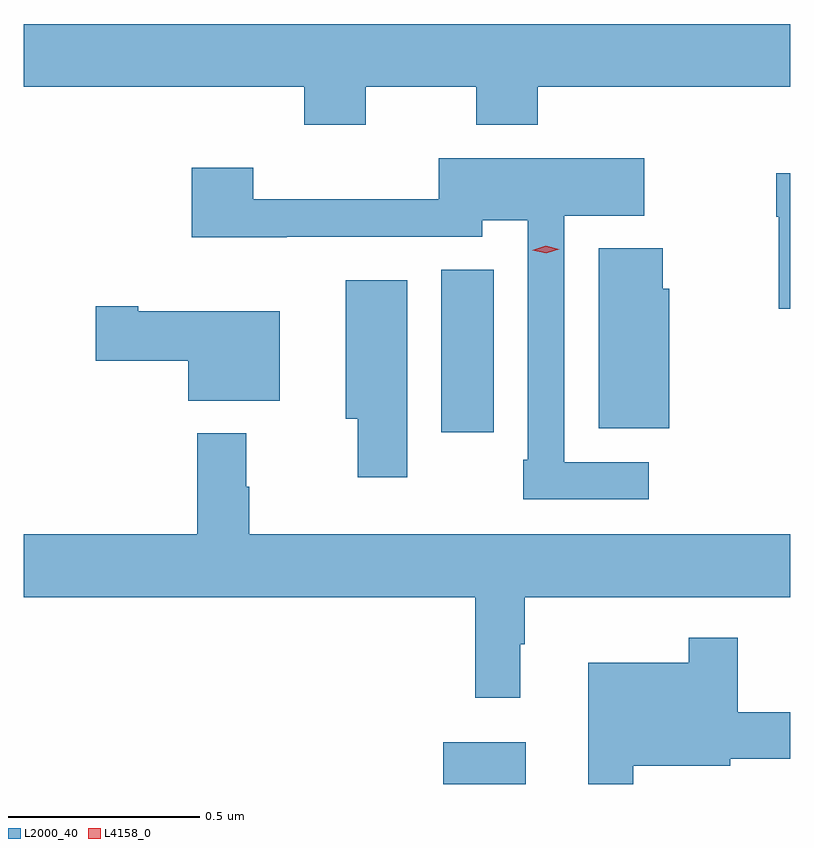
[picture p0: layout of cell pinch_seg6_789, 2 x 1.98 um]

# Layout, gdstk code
import gdstk
lib = gdstk.Library(unit=1e-6, precision=1e-09)
def R(c, l, rs):  # rectangles x0, y0, x1, y1
    for r in rs: c.add(gdstk.rectangle(r[:2], r[2:], *l))
def P(c, l, *ps):  # polygons
    for p in ps: c.add(gdstk.Polygon(p, *l))
L2000_40 = (2000, 40)
L4158_0 = (4158, 0)

pinch_seg6_789 = lib.new_cell('pinch_seg6_789')
R(pinch_seg6_789, L2000_40, [(254.378,982.812,254.593,982.921), (254.372,983.73,254.509,984.155)])
P(pinch_seg6_789, L2000_40, [(254.175,984.632),(254.464,984.632),(254.464,984.533),(254.624,984.533),(254.624,984.632),(255.283,984.632),(255.283,984.796),(253.283,984.796),(253.283,984.632),(254.015,984.632),(254.015,984.533),(254.175,984.533)],
  [(254.914,983.652),(254.694,983.652),(254.694,984.296),(254.902,984.296),(254.902,984.445),(254.366,984.445),(254.366,984.338),(253.881,984.338),(253.881,984.421),(253.721,984.421),(253.721,984.239),(253.969,984.239),(253.969,984.24),(254.479,984.24),(254.479,984.284),(254.598,984.284),(254.598,983.659),(254.586,983.659),(254.586,983.556),(254.914,983.556)],
  [(255.283,984.406),(255.247,984.406),(255.247,984.293),(255.254,984.293),(255.254,984.053),(255.283,984.053)],
  [(254.968,984.105),(254.95,984.105),(254.95,984.211),(254.783,984.211),(254.783,983.741),(254.968,983.741)],
  [(254.284,984.127),(254.123,984.127),(254.123,983.765),(254.155,983.765),(254.155,983.613),(254.284,983.613)],
  [(253.951,984.046),(253.582,984.046),(253.582,984.059),(253.47,984.059),(253.47,983.917),(253.712,983.917),(253.712,983.813),(253.951,983.813)],
  [(254.578,983.177),(254.59,983.177),(254.59,983.3),(255.283,983.3),(255.283,983.464),(253.871,983.464),(253.871,983.588),(253.864,983.588),(253.864,983.728),(253.735,983.728),(253.735,983.464),(253.283,983.464),(253.283,983.3),(254.461,983.3),(254.461,983.037),(254.578,983.037)],
  [(254.873,982.859),(255.127,982.859),(255.127,982.878),(255.283,982.878),(255.283,982.999),(255.146,982.999),(255.146,983.194),(255.018,983.194),(255.018,983.128),(254.756,983.128),(254.756,982.812),(254.873,982.812)])
P(pinch_seg6_789, L4158_0, [(254.646,984.197),(254.61,984.205),(254.61,984.206),(254.61,984.206),(254.645,984.217),(254.68,984.208),(254.68,984.208),(254.68,984.208)])

lib.write_gds('pinch_seg6_789.gds')
